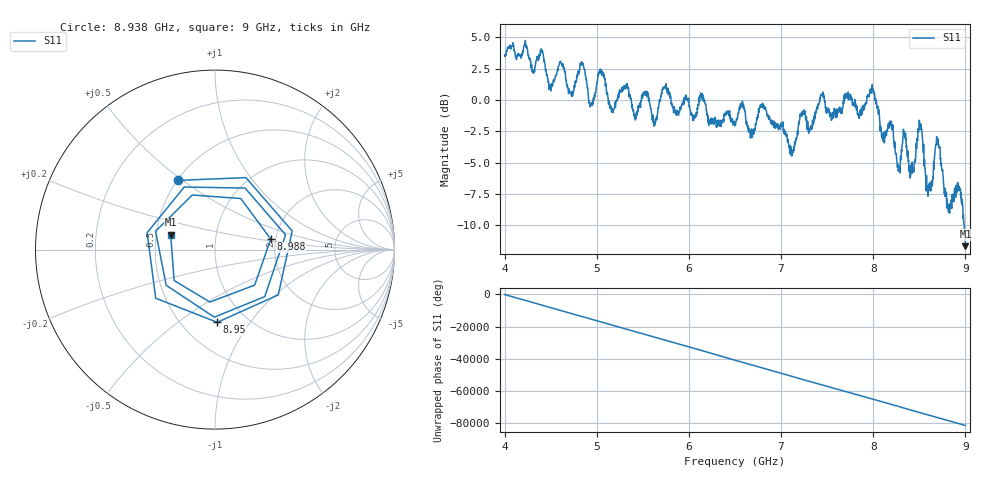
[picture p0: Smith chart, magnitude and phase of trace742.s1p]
! Created with skrf 1.8.0 (http://scikit-rf.org).
# Hz S RI R 50.0
!freq ReS11 ImS11
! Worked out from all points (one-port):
!   1601 points, 4 GHz to 9 GHz, reference 50 ohm
!   lowest |S11| = -11.7 dB at 9 GHz (marker M1), VSWR 1.71, Z = 29.8 + j5.34 ohm
!   |S11| at or under -10 dB: 8.987782 GHz to end of sweep
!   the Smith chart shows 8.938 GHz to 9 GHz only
!   S11 on the Smith chart (normalised r, x): 8.938 GHz: 0.50, +0.48; 8.95 GHz: 0.73, -0.71; 8.988 GHz: 1.88, +0.24; 9 GHz: 0.60, +0.11
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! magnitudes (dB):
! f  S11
! 4 GHz  3.6
! 4.4 GHz  4.1
! 4.5 GHz  1.2
! 4.625 GHz  2.7
! 4.725 GHz  0.4
! 4.847 GHz  2.9
! 4.934 GHz  -0.5
! 5.047 GHz  2.4
! 5.162 GHz  -0.9
! 5.25 GHz  0.7
! 5.875 GHz  -1.0
! 6.5 GHz  -2.1
! 6.806 GHz  -0.4
! 7.125 GHz  -4.1
! 7.231 GHz  -0.9
! 7.75 GHz  0.4
! 7.991 GHz  1.0
! 8.1 GHz  -2.9
! 8.375 GHz  -4.1
! 8.422 GHz  -5.0
! 8.509 GHz  -2.4
! 8.597 GHz  -6.9
! 8.7 GHz  -3.4
! 8.809 GHz  -8.5
! 8.938 GHz  -7.2
! 8.95 GHz  -7.8
! 8.988 GHz  -10.0
! 9 GHz  -11.7
